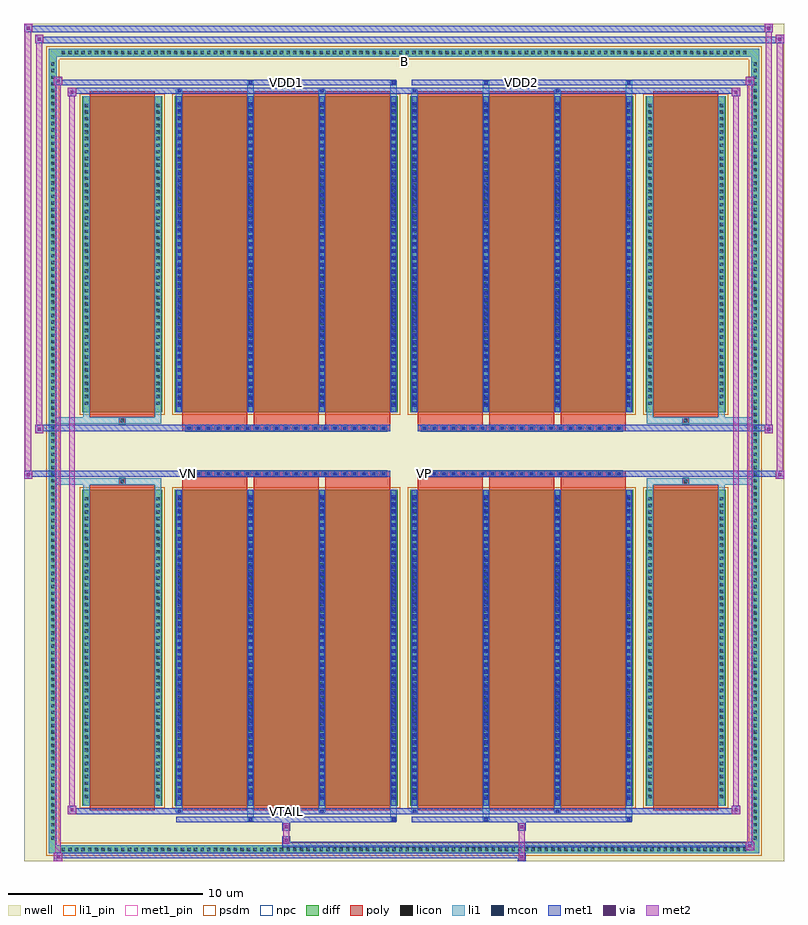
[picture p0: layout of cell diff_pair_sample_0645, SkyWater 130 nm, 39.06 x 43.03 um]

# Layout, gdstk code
import gdstk
lib = gdstk.Library(unit=1e-6, precision=5e-09)
def R(c, l, rs):  # rectangles x0, y0, x1, y1
    for r in rs: c.add(gdstk.rectangle(r[:2], r[2:], *l))
def A(c, l, x, y, w, h, nx, ny, dx, dy):  # array of equal rectangles
    R(c, l, [(x+i*dx, y+j*dy, x+i*dx+w, y+j*dy+h) for i in range(nx) for j in range(ny)])
def P(c, l, *ps):  # polygons
    for p in ps: c.add(gdstk.Polygon(p, *l))
nwell = (64, 20)
diff = (65, 20)
poly = (66, 20)
licon = (66, 44)
li1_pin = (67, 16)
li1 = (67, 20)
mcon = (67, 44)
met1_pin = (68, 16)
met1 = (68, 20)
via = (68, 44)
met2 = (69, 20)
psdm = (94, 20)
npc = (95, 20)

diff_pair_sample_0645 = lib.new_cell('diff_pair_sample_0645')
R(diff_pair_sample_0645, nwell, [(-19.53,-21.08,19.53,21.95), (-16.85,-19.27,-0.01,-0.805), (0.01,-19.27,16.85,-0.805), (-16.85,0.805,-0.01,19.27), (0.01,0.805,16.85,19.27)])
A(diff_pair_sample_0645, diff, -17.715, -20.68, 0.41, 0.41, 104, 2, 0.34, 40.95)
A(diff_pair_sample_0645, diff, -18.26, -20.095, 0.41, 0.41, 1, 118, 0, 0.34)
A(diff_pair_sample_0645, diff, 17.85, -20.095, 0.41, 0.41, 1, 118, 0, 0.34)
R(diff_pair_sample_0645, diff, [(-17.715,-20.68,17.715,-20.27), (-18.26,-20.095,-17.85,20.095), (17.85,-20.095,18.26,20.095), (-16.54,-18.225,-12.42,-1.985), (-11.78,-18.225,-0.32,-1.985), (0.32,-18.225,11.78,-1.985), (12.42,-18.225,16.54,-1.985), (-16.54,1.985,-12.42,18.225), (-11.78,1.985,-0.32,18.225), (0.32,1.985,11.78,18.225), (12.42,1.985,16.54,18.225), (-17.715,20.27,17.715,20.68)])
P(diff_pair_sample_0645, diff, [(18.26,20.68),(-18.26,20.68),(-18.26,-20.27),(-17.85,-20.27),(-17.85,20.27),(17.85,20.27),(17.85,-20.27),(-17.85,-20.27),(-18.26,-20.27),(-18.26,-20.68),(18.26,-20.68)])
A(diff_pair_sample_0645, poly, -11.39, -18.475, 3.34, 16.74, 3, 2, 3.67, 20.21)
A(diff_pair_sample_0645, poly, 0.71, -18.475, 3.34, 16.74, 3, 2, 3.67, 20.21)
A(diff_pair_sample_0645, poly, -11.39, -1.735, 3.34, 0.4, 3, 2, 3.67, 3.07)
A(diff_pair_sample_0645, poly, 0.71, -1.735, 3.34, 0.4, 3, 2, 3.67, 3.07)
A(diff_pair_sample_0645, poly, -11.215, -1.335, 0.33, 0.33, 21, 2, 0.5, 2.34)
A(diff_pair_sample_0645, poly, 0.885, -1.335, 0.33, 0.33, 21, 2, 0.5, 2.34)
R(diff_pair_sample_0645, poly, [(-16.15,-18.475,-12.81,-1.735), (12.81,-18.475,16.15,-1.735), (-14.645,-1.735,-14.315,-1.405), (-14.645,-1.735,-14.315,-1.405), (14.315,-1.735,14.645,-1.405), (14.315,-1.735,14.645,-1.405), (-11.39,-1.335,-0.71,-1.005), (0.71,-1.335,11.39,-1.005), (-11.39,1.005,-0.71,1.335), (0.71,1.005,11.39,1.335), (-14.645,1.405,-14.315,1.735), (-14.645,1.405,-14.315,1.735), (14.315,1.405,14.645,1.735), (14.315,1.405,14.645,1.735), (-16.15,1.735,-12.81,18.475), (12.81,1.735,16.15,18.475)])
A(diff_pair_sample_0645, licon, -17.595, -20.56, 0.17, 0.17, 104, 2, 0.34, 40.95)
A(diff_pair_sample_0645, licon, -18.14, -19.975, 0.17, 0.17, 1, 118, 0, 0.34)
A(diff_pair_sample_0645, licon, 17.97, -19.975, 0.17, 0.17, 1, 118, 0, 0.34)
A(diff_pair_sample_0645, licon, -16.4, -17.84, 0.17, 0.17, 1, 46, 0, 0.34)
A(diff_pair_sample_0645, licon, -12.73, -17.84, 0.17, 0.17, 1, 46, 0, 0.34)
A(diff_pair_sample_0645, licon, -11.64, -17.84, 0.17, 0.17, 4, 46, 3.67, 0.34)
A(diff_pair_sample_0645, licon, 0.46, -17.84, 0.17, 0.17, 4, 46, 3.67, 0.34)
A(diff_pair_sample_0645, licon, 12.56, -17.84, 0.17, 0.17, 1, 46, 0, 0.34)
A(diff_pair_sample_0645, licon, 16.23, -17.84, 0.17, 0.17, 1, 46, 0, 0.34)
A(diff_pair_sample_0645, licon, -11.135, -1.255, 0.17, 0.17, 21, 2, 0.5, 2.34)
A(diff_pair_sample_0645, licon, 0.965, -1.255, 0.17, 0.17, 21, 2, 0.5, 2.34)
A(diff_pair_sample_0645, licon, -16.4, 2.37, 0.17, 0.17, 1, 46, 0, 0.34)
A(diff_pair_sample_0645, licon, -12.73, 2.37, 0.17, 0.17, 1, 46, 0, 0.34)
A(diff_pair_sample_0645, licon, -11.64, 2.37, 0.17, 0.17, 4, 46, 3.67, 0.34)
A(diff_pair_sample_0645, licon, 0.46, 2.37, 0.17, 0.17, 4, 46, 3.67, 0.34)
A(diff_pair_sample_0645, licon, 12.56, 2.37, 0.17, 0.17, 1, 46, 0, 0.34)
A(diff_pair_sample_0645, licon, 16.23, 2.37, 0.17, 0.17, 1, 46, 0, 0.34)
R(diff_pair_sample_0645, licon, [(-14.565,-1.655,-14.395,-1.485), (14.395,-1.655,14.565,-1.485), (-14.565,1.485,-14.395,1.655), (14.395,1.485,14.565,1.655)])
R(diff_pair_sample_0645, li1_pin, [(-0.25,19.77,0.25,20.27)])
A(diff_pair_sample_0645, li1, -17.675, -20.64, 0.33, 0.33, 104, 2, 0.34, 40.95)
A(diff_pair_sample_0645, li1, -18.22, -20.055, 0.33, 0.33, 1, 118, 0, 0.34)
A(diff_pair_sample_0645, li1, 17.89, -20.055, 0.33, 0.33, 1, 118, 0, 0.34)
A(diff_pair_sample_0645, li1, -11.72, -18.225, 0.33, 16.24, 4, 2, 3.67, 20.21)
A(diff_pair_sample_0645, li1, 0.38, -18.225, 0.33, 16.24, 4, 2, 3.67, 20.21)
A(diff_pair_sample_0645, li1, -11.64, -17.93, 0.17, 0.17, 4, 44, 3.67, 0.36)
A(diff_pair_sample_0645, li1, -11.64, -17.93, 0.17, 15.65, 4, 2, 3.67, 20.21)
A(diff_pair_sample_0645, li1, 0.46, -17.93, 0.17, 0.17, 4, 44, 3.67, 0.36)
A(diff_pair_sample_0645, li1, 0.46, -17.93, 0.17, 15.65, 4, 2, 3.67, 20.21)
A(diff_pair_sample_0645, li1, -16.48, -17.92, 0.33, 0.33, 1, 46, 0, 0.34)
A(diff_pair_sample_0645, li1, -12.81, -17.92, 0.33, 0.33, 1, 46, 0, 0.34)
A(diff_pair_sample_0645, li1, -11.72, -17.92, 0.33, 0.33, 4, 46, 3.67, 0.34)
A(diff_pair_sample_0645, li1, 0.38, -17.92, 0.33, 0.33, 4, 46, 3.67, 0.34)
A(diff_pair_sample_0645, li1, 12.48, -17.92, 0.33, 0.33, 1, 46, 0, 0.34)
A(diff_pair_sample_0645, li1, 16.15, -17.92, 0.33, 0.33, 1, 46, 0, 0.34)
A(diff_pair_sample_0645, li1, -11.215, -1.335, 0.33, 0.33, 21, 2, 0.5, 2.34)
A(diff_pair_sample_0645, li1, 0.885, -1.335, 0.33, 0.33, 21, 2, 0.5, 2.34)
A(diff_pair_sample_0645, li1, -11.64, 2.28, 0.17, 0.17, 4, 44, 3.67, 0.36)
A(diff_pair_sample_0645, li1, 0.46, 2.28, 0.17, 0.17, 4, 44, 3.67, 0.36)
A(diff_pair_sample_0645, li1, -16.48, 2.29, 0.33, 0.33, 1, 46, 0, 0.34)
A(diff_pair_sample_0645, li1, -12.81, 2.29, 0.33, 0.33, 1, 46, 0, 0.34)
A(diff_pair_sample_0645, li1, -11.72, 2.29, 0.33, 0.33, 4, 46, 3.67, 0.34)
A(diff_pair_sample_0645, li1, 0.38, 2.29, 0.33, 0.33, 4, 46, 3.67, 0.34)
A(diff_pair_sample_0645, li1, 12.48, 2.29, 0.33, 0.33, 1, 46, 0, 0.34)
A(diff_pair_sample_0645, li1, 16.15, 2.29, 0.33, 0.33, 1, 46, 0, 0.34)
R(diff_pair_sample_0645, li1, [(-18.26,-20.68,-17.85,-20.27), (-18.26,-20.68,-17.85,-20.27), (-17.85,-20.68,17.85,-20.27), (17.85,-20.68,18.26,-20.27), (17.85,-20.68,18.26,-20.27), (-18.26,-20.27,-17.85,20.27), (17.85,-20.27,18.26,20.27), (-8.05,-19.03,-7.72,-18.225), (-7.97,-19.03,-7.8,-18.86), (-0.71,-19.03,-0.38,-18.225), (-0.63,-19.03,-0.46,-18.86), (4.05,-19.03,4.38,-18.225), (4.13,-19.03,4.3,-18.86), (11.39,-19.03,11.72,-18.225), (11.47,-19.03,11.64,-18.86), (-11.72,-18.6,-11.39,-18.225), (-11.64,-18.6,-11.47,-18.43), (-4.38,-18.6,-4.05,-18.225), (-4.3,-18.6,-4.13,-18.43), (0.38,-18.6,0.71,-18.225), (0.46,-18.6,0.63,-18.43), (7.72,-18.6,8.05,-18.225), (7.8,-18.6,7.97,-18.43), (-16.48,-18.225,-16.15,-1.985), (-12.81,-18.225,-12.48,-1.985), (12.48,-18.225,12.81,-1.985), (16.15,-18.225,16.48,-1.985), (-16.48,-1.985,-16.15,-1.405), (-12.81,-1.985,-12.48,-1.405), (12.48,-1.985,12.81,-1.405), (16.15,-1.985,16.48,-1.405), (-18.26,-1.735,-14.645,-1.405), (-16.48,-1.735,-14.645,-1.405), (-14.645,-1.735,-14.315,-1.405), (-14.315,-1.735,-12.48,-1.405), (12.48,-1.735,14.315,-1.405), (14.315,-1.735,14.645,-1.405), (14.315,-1.735,18.26,-1.405), (14.645,-1.735,16.48,-1.405), (-18.26,1.405,-14.645,1.735), (-16.48,1.405,-14.645,1.735), (-16.48,1.405,-16.15,1.985), (-14.645,1.405,-14.315,1.735), (-14.315,1.405,-12.48,1.735), (-12.81,1.405,-12.48,1.985), (12.48,1.405,14.315,1.735), (12.48,1.405,12.81,1.985), (14.315,1.405,14.645,1.735), (14.315,1.405,18.26,1.735), (14.645,1.405,16.48,1.735), (16.15,1.405,16.48,1.985), (-16.48,1.985,-16.15,18.225), (-12.81,1.985,-12.48,18.225), (12.48,1.985,12.81,18.225), (16.15,1.985,16.48,18.225), (-11.72,18.225,-11.39,18.6), (-8.05,18.225,-7.72,19.03), (-4.38,18.225,-4.05,18.6), (-0.71,18.225,-0.38,19.03), (0.38,18.225,0.71,18.6), (4.05,18.225,4.38,19.03), (7.72,18.225,8.05,18.6), (11.39,18.225,11.72,19.03), (-11.64,18.43,-11.47,18.6), (-4.3,18.43,-4.13,18.6), (0.46,18.43,0.63,18.6), (7.8,18.43,7.97,18.6), (-7.97,18.86,-7.8,19.03), (-0.63,18.86,-0.46,19.03), (4.13,18.86,4.3,19.03), (11.47,18.86,11.64,19.03), (-18.26,20.27,-17.85,20.68), (-18.26,20.27,-17.85,20.68), (-17.85,20.27,17.85,20.68), (17.85,20.27,18.26,20.68), (17.85,20.27,18.26,20.68)])
A(diff_pair_sample_0645, mcon, -11.64, -17.93, 0.17, 0.17, 4, 44, 3.67, 0.36)
A(diff_pair_sample_0645, mcon, 0.46, -17.93, 0.17, 0.17, 4, 44, 3.67, 0.36)
A(diff_pair_sample_0645, mcon, -11.135, -1.255, 0.17, 0.17, 21, 2, 0.5, 2.34)
A(diff_pair_sample_0645, mcon, 0.965, -1.255, 0.17, 0.17, 21, 2, 0.5, 2.34)
A(diff_pair_sample_0645, mcon, -11.64, 2.28, 0.17, 0.17, 4, 44, 3.67, 0.36)
A(diff_pair_sample_0645, mcon, 0.46, 2.28, 0.17, 0.17, 4, 44, 3.67, 0.36)
R(diff_pair_sample_0645, mcon, [(-7.97,-19.03,-7.8,-18.86), (-0.63,-19.03,-0.46,-18.86), (4.13,-19.03,4.3,-18.86), (11.47,-19.03,11.64,-18.86), (-11.64,-18.6,-11.47,-18.43), (-4.3,-18.6,-4.13,-18.43), (0.46,-18.6,0.63,-18.43), (7.8,-18.6,7.97,-18.43), (-11.64,18.43,-11.47,18.6), (-4.3,18.43,-4.13,18.6), (0.46,18.43,0.63,18.6), (7.8,18.43,7.97,18.6), (-7.97,18.86,-7.8,19.03), (-0.63,18.86,-0.46,19.03), (4.13,18.86,4.3,19.03), (11.47,18.86,11.64,19.03)])
R(diff_pair_sample_0645, met1_pin, [(-6.185,-18.64,-5.915,-18.37), (-11.185,-1.295,-10.915,-1.025), (0.915,-1.295,1.185,-1.025), (-6.185,18.82,-5.915,19.09), (5.915,18.82,6.185,19.09)])
A(diff_pair_sample_0645, met1, -11.7, -18.225, 0.29, 16.24, 4, 2, 3.67, 20.21)
A(diff_pair_sample_0645, met1, 0.4, -18.225, 0.29, 16.24, 4, 2, 3.67, 20.21)
A(diff_pair_sample_0645, met1, -11.7, -17.99, 0.29, 0.29, 4, 44, 3.67, 0.36)
A(diff_pair_sample_0645, met1, 0.4, -17.99, 0.29, 0.29, 4, 44, 3.67, 0.36)
A(diff_pair_sample_0645, met1, -11.195, -1.315, 0.29, 0.29, 21, 2, 0.5, 2.34)
A(diff_pair_sample_0645, met1, 0.905, -1.315, 0.29, 0.29, 21, 2, 0.5, 2.34)
A(diff_pair_sample_0645, met1, -11.7, 2.22, 0.29, 0.29, 4, 44, 3.67, 0.36)
A(diff_pair_sample_0645, met1, 0.4, 2.22, 0.29, 0.29, 4, 44, 3.67, 0.36)
R(diff_pair_sample_0645, met1, [(-17.99,-21.08,-17.56,-20.65), (5.835,-21.08,6.265,-20.65), (-17.99,-20.94,6.265,-20.65), (17.56,-20.51,17.99,-20.08), (-6.265,-20.37,17.99,-20.08), (-6.265,-20.23,-5.835,-19.8), (-6.265,-19.52,-5.835,-19.09), (5.835,-19.52,6.265,-19.09), (-11.7,-19.09,-0.4,-18.8), (-8.03,-19.09,-7.74,-18.8), (-0.69,-19.09,-0.4,-18.8), (0.4,-19.09,11.7,-18.8), (4.07,-19.09,4.36,-18.8), (11.41,-19.09,11.7,-18.8), (-17.28,-18.66,-16.85,-18.23), (-17.28,-18.66,-11.7,-18.37), (-11.7,-18.66,-11.41,-18.37), (-11.7,-18.66,-0.4,-18.37), (-4.36,-18.66,-4.07,-18.37), (-0.4,-18.66,0.4,-18.37), (0.4,-18.66,0.69,-18.37), (0.4,-18.66,11.7,-18.37), (7.74,-18.66,8.03,-18.37), (11.7,-18.66,17.28,-18.37), (16.85,-18.66,17.28,-18.23), (-19.53,-1.435,-19.1,-1.005), (19.1,-1.435,19.53,-1.005), (-19.53,-1.335,-0.71,-1.005), (-11.39,-1.335,-0.71,-1.005), (0.71,-1.335,11.39,-1.005), (0.71,-1.335,19.53,-1.005), (-18.96,0.905,-18.53,1.335), (18.53,0.905,18.96,1.335), (-18.96,1.005,-11.39,1.335), (-11.39,1.005,-0.71,1.335), (0.71,1.005,11.39,1.335), (11.39,1.005,18.96,1.335), (-17.28,18.23,-16.85,18.66), (16.85,18.23,17.28,18.66), (-17.28,18.37,-11.7,18.66), (-11.7,18.37,-11.41,18.66), (-11.7,18.37,-0.4,18.66), (-4.36,18.37,-4.07,18.66), (-0.4,18.37,0.4,18.66), (0.4,18.37,0.69,18.66), (0.4,18.37,11.7,18.66), (7.74,18.37,8.03,18.66), (11.7,18.37,17.28,18.66), (-17.99,18.8,-17.56,19.23), (-17.99,18.8,-11.7,19.09), (-11.7,18.8,-0.4,19.09), (-8.03,18.8,-7.74,19.09), (-0.69,18.8,-0.4,19.09), (0.4,18.8,11.7,19.09), (4.07,18.8,4.36,19.09), (11.41,18.8,11.7,19.09), (11.7,18.8,17.99,19.09), (17.56,18.8,17.99,19.23), (-18.96,20.95,-18.53,21.38), (-18.96,20.95,-16.85,21.28), (-16.85,20.95,16.85,21.28), (16.85,20.95,19.53,21.28), (19.1,20.95,19.53,21.38), (-19.53,21.52,-19.1,21.95), (-19.53,21.52,-16.85,21.85), (-16.85,21.52,16.85,21.85), (16.85,21.52,18.96,21.85), (18.53,21.52,18.96,21.95)])
R(diff_pair_sample_0645, via, [(-17.85,-20.94,-17.7,-20.79), (5.975,-20.94,6.125,-20.79), (17.7,-20.37,17.85,-20.22), (-6.125,-20.09,-5.975,-19.94), (-6.125,-19.38,-5.975,-19.23), (5.975,-19.38,6.125,-19.23), (-17.14,-18.52,-16.99,-18.37), (16.99,-18.52,17.14,-18.37), (-19.39,-1.295,-19.24,-1.145), (19.24,-1.295,19.39,-1.145), (-18.82,1.045,-18.67,1.195), (18.67,1.045,18.82,1.195), (-17.14,18.37,-16.99,18.52), (16.99,18.37,17.14,18.52), (-17.85,18.94,-17.7,19.09), (17.7,18.94,17.85,19.09), (-18.82,21.09,-18.67,21.24), (19.24,21.09,19.39,21.24), (-19.39,21.66,-19.24,21.81), (18.67,21.66,18.82,21.81)])
R(diff_pair_sample_0645, met2, [(-17.99,-21.08,-17.56,-20.65), (-17.92,-21.08,-17.63,19.23), (-17.63,-21.08,-17.56,-20.65), (-17.94,-21.03,-17.61,-20.7), (5.885,-21.03,6.215,-20.7), (5.885,-20.7,6.215,-19.47), (17.56,-20.51,17.99,-20.08), (17.63,-20.51,17.92,19.23), (17.92,-20.51,17.99,-20.08), (17.61,-20.46,17.94,-20.13), (-6.215,-20.18,-5.885,-19.85), (-6.215,-19.85,-5.885,-19.47), (-6.215,-19.47,-5.885,-19.14), (5.885,-19.47,6.215,-19.14), (-17.28,-18.66,-16.85,-18.23), (-17.21,-18.66,-16.92,18.66), (-16.92,-18.66,-16.85,-18.23), (16.85,-18.66,17.28,-18.23), (16.92,-18.66,17.21,18.66), (17.21,-18.66,17.28,-18.23), (-17.23,-18.61,-16.9,-18.28), (16.9,-18.61,17.23,-18.28), (-19.53,-1.435,-19.1,-1.005), (-19.48,-1.435,-19.15,21.95), (-19.15,-1.435,-19.1,-1.005), (19.1,-1.435,19.53,-1.005), (19.15,-1.435,19.48,21.38), (19.48,-1.435,19.53,-1.005), (-19.48,-1.385,-19.15,-1.055), (19.15,-1.385,19.48,-1.055), (-18.96,0.905,-18.53,1.335), (-18.91,0.905,-18.58,21.38), (-18.58,0.905,-18.53,1.335), (18.53,0.905,18.96,1.335), (18.58,0.905,18.91,21.95), (18.91,0.905,18.96,1.335), (-18.91,0.955,-18.58,1.285), (18.58,0.955,18.91,1.285), (-17.28,18.23,-16.85,18.66), (-16.92,18.23,-16.85,18.66), (16.85,18.23,17.28,18.66), (17.21,18.23,17.28,18.66), (-17.23,18.28,-16.9,18.61), (16.9,18.28,17.23,18.61), (-17.99,18.8,-17.56,19.23), (-17.63,18.8,-17.56,19.23), (17.56,18.8,17.99,19.23), (17.92,18.8,17.99,19.23), (-17.94,18.85,-17.61,19.18), (17.61,18.85,17.94,19.18), (-18.96,20.95,-18.53,21.38), (-18.58,20.95,-18.53,21.38), (19.1,20.95,19.53,21.38), (19.48,20.95,19.53,21.38), (-18.91,21,-18.58,21.33), (19.15,21,19.48,21.33), (-19.53,21.52,-19.1,21.95), (-19.15,21.52,-19.1,21.95), (18.53,21.52,18.96,21.95), (18.91,21.52,18.96,21.95), (-19.48,21.57,-19.15,21.9), (18.58,21.57,18.91,21.9)])
R(diff_pair_sample_0645, psdm, [(-16.67,-18.355,-12.29,-1.855), (-11.91,-18.355,-0.19,-1.855), (0.19,-18.355,11.91,-1.855), (12.29,-18.355,16.67,-1.855), (-16.67,1.855,-12.29,18.355), (-11.91,1.855,-0.19,18.355), (0.19,1.855,11.91,18.355), (12.29,1.855,16.67,18.355)])
P(diff_pair_sample_0645, psdm, [(18.39,20.81),(-18.39,20.81),(-18.39,-20.14),(-17.72,-20.14),(-17.72,20.14),(17.72,20.14),(17.72,-20.14),(-17.72,-20.14),(-18.39,-20.14),(-18.39,-20.81),(18.39,-20.81)])
A(diff_pair_sample_0645, npc, -11.235, -1.355, 0.37, 0.37, 21, 2, 0.5, 2.34)
A(diff_pair_sample_0645, npc, 0.865, -1.355, 0.37, 0.37, 21, 2, 0.5, 2.34)
R(diff_pair_sample_0645, npc, [(-14.665,-1.755,-14.295,-1.385), (14.295,-1.755,14.665,-1.385), (-11.235,-1.355,-10.365,-0.985), (-11.235,-1.355,-10.365,-0.985), (-10.735,-1.355,-9.865,-0.985), (-10.735,-1.355,-9.865,-0.985), (-10.235,-1.355,-9.365,-0.985), (-10.235,-1.355,-9.365,-0.985), (-9.735,-1.355,-8.865,-0.985), (-9.735,-1.355,-8.865,-0.985), (-9.235,-1.355,-8.365,-0.985), (-9.235,-1.355,-8.365,-0.985), (-8.735,-1.355,-7.865,-0.985), (-8.735,-1.355,-7.865,-0.985), (-8.235,-1.355,-7.365,-0.985), (-8.235,-1.355,-7.365,-0.985), (-7.735,-1.355,-6.865,-0.985), (-7.735,-1.355,-6.865,-0.985), (-7.235,-1.355,-6.365,-0.985), (-7.235,-1.355,-6.365,-0.985), (-6.735,-1.355,-5.865,-0.985), (-6.735,-1.355,-5.865,-0.985), (-6.235,-1.355,-5.365,-0.985), (-6.235,-1.355,-5.365,-0.985), (-5.735,-1.355,-4.865,-0.985), (-5.735,-1.355,-4.865,-0.985), (-5.235,-1.355,-4.365,-0.985), (-5.235,-1.355,-4.365,-0.985), (-4.735,-1.355,-3.865,-0.985), (-4.735,-1.355,-3.865,-0.985), (-4.235,-1.355,-3.365,-0.985), (-4.235,-1.355,-3.365,-0.985), (-3.735,-1.355,-2.865,-0.985), (-3.735,-1.355,-2.865,-0.985), (-3.235,-1.355,-2.365,-0.985), (-3.235,-1.355,-2.365,-0.985), (-2.735,-1.355,-1.865,-0.985), (-2.735,-1.355,-1.865,-0.985), (-2.235,-1.355,-1.365,-0.985), (-2.235,-1.355,-1.365,-0.985), (-1.735,-1.355,-0.865,-0.985), (-1.735,-1.355,-0.865,-0.985), (0.865,-1.355,1.735,-0.985), (0.865,-1.355,1.735,-0.985), (1.365,-1.355,2.235,-0.985), (1.365,-1.355,2.235,-0.985), (1.865,-1.355,2.735,-0.985), (1.865,-1.355,2.735,-0.985), (2.365,-1.355,3.235,-0.985), (2.365,-1.355,3.235,-0.985), (2.865,-1.355,3.735,-0.985), (2.865,-1.355,3.735,-0.985), (3.365,-1.355,4.235,-0.985), (3.365,-1.355,4.235,-0.985), (3.865,-1.355,4.735,-0.985), (3.865,-1.355,4.735,-0.985), (4.365,-1.355,5.235,-0.985), (4.365,-1.355,5.235,-0.985), (4.865,-1.355,5.735,-0.985), (4.865,-1.355,5.735,-0.985), (5.365,-1.355,6.235,-0.985), (5.365,-1.355,6.235,-0.985), (5.865,-1.355,6.735,-0.985), (5.865,-1.355,6.735,-0.985), (6.365,-1.355,7.235,-0.985), (6.365,-1.355,7.235,-0.985), (6.865,-1.355,7.735,-0.985), (6.865,-1.355,7.735,-0.985), (7.365,-1.355,8.235,-0.985), (7.365,-1.355,8.235,-0.985), (7.865,-1.355,8.735,-0.985), (7.865,-1.355,8.735,-0.985), (8.365,-1.355,9.235,-0.985), (8.365,-1.355,9.235,-0.985), (8.865,-1.355,9.735,-0.985), (8.865,-1.355,9.735,-0.985), (9.365,-1.355,10.235,-0.985), (9.365,-1.355,10.235,-0.985), (9.865,-1.355,10.735,-0.985), (9.865,-1.355,10.735,-0.985), (10.365,-1.355,11.235,-0.985), (10.365,-1.355,11.235,-0.985), (-11.235,0.985,-10.365,1.355), (-11.235,0.985,-10.365,1.355), (-10.735,0.985,-9.865,1.355), (-10.735,0.985,-9.865,1.355), (-10.235,0.985,-9.365,1.355), (-10.235,0.985,-9.365,1.355), (-9.735,0.985,-8.865,1.355), (-9.735,0.985,-8.865,1.355), (-9.235,0.985,-8.365,1.355), (-9.235,0.985,-8.365,1.355), (-8.735,0.985,-7.865,1.355), (-8.735,0.985,-7.865,1.355), (-8.235,0.985,-7.365,1.355), (-8.235,0.985,-7.365,1.355), (-7.735,0.985,-6.865,1.355), (-7.735,0.985,-6.865,1.355), (-7.235,0.985,-6.365,1.355), (-7.235,0.985,-6.365,1.355), (-6.735,0.985,-5.865,1.355), (-6.735,0.985,-5.865,1.355), (-6.235,0.985,-5.365,1.355), (-6.235,0.985,-5.365,1.355), (-5.735,0.985,-4.865,1.355), (-5.735,0.985,-4.865,1.355), (-5.235,0.985,-4.365,1.355), (-5.235,0.985,-4.365,1.355), (-4.735,0.985,-3.865,1.355), (-4.735,0.985,-3.865,1.355), (-4.235,0.985,-3.365,1.355), (-4.235,0.985,-3.365,1.355), (-3.735,0.985,-2.865,1.355), (-3.735,0.985,-2.865,1.355), (-3.235,0.985,-2.365,1.355), (-3.235,0.985,-2.365,1.355), (-2.735,0.985,-1.865,1.355), (-2.735,0.985,-1.865,1.355), (-2.235,0.985,-1.365,1.355), (-2.235,0.985,-1.365,1.355), (-1.735,0.985,-0.865,1.355), (-1.735,0.985,-0.865,1.355), (0.865,0.985,1.735,1.355), (0.865,0.985,1.735,1.355), (1.365,0.985,2.235,1.355), (1.365,0.985,2.235,1.355), (1.865,0.985,2.735,1.355), (1.865,0.985,2.735,1.355), (2.365,0.985,3.235,1.355), (2.365,0.985,3.235,1.355), (2.865,0.985,3.735,1.355), (2.865,0.985,3.735,1.355), (3.365,0.985,4.235,1.355), (3.365,0.985,4.235,1.355), (3.865,0.985,4.735,1.355), (3.865,0.985,4.735,1.355), (4.365,0.985,5.235,1.355), (4.365,0.985,5.235,1.355), (4.865,0.985,5.735,1.355), (4.865,0.985,5.735,1.355), (5.365,0.985,6.235,1.355), (5.365,0.985,6.235,1.355), (5.865,0.985,6.735,1.355), (5.865,0.985,6.735,1.355), (6.365,0.985,7.235,1.355), (6.365,0.985,7.235,1.355), (6.865,0.985,7.735,1.355), (6.865,0.985,7.735,1.355), (7.365,0.985,8.235,1.355), (7.365,0.985,8.235,1.355), (7.865,0.985,8.735,1.355), (7.865,0.985,8.735,1.355), (8.365,0.985,9.235,1.355), (8.365,0.985,9.235,1.355), (8.865,0.985,9.735,1.355), (8.865,0.985,9.735,1.355), (9.365,0.985,10.235,1.355), (9.365,0.985,10.235,1.355), (9.865,0.985,10.735,1.355), (9.865,0.985,10.735,1.355), (10.365,0.985,11.235,1.355), (10.365,0.985,11.235,1.355), (-14.665,1.385,-14.295,1.755), (14.295,1.385,14.665,1.755)])
diff_pair_sample_0645.add(gdstk.Label('VTAIL', (-6.05,-18.505), layer=68, texttype=5))
diff_pair_sample_0645.add(gdstk.Label('VN', (-11.05,-1.16), layer=68, texttype=5))
diff_pair_sample_0645.add(gdstk.Label('VP', (1.05,-1.16), layer=68, texttype=5))
diff_pair_sample_0645.add(gdstk.Label('B', (0,20.02), layer=67, texttype=5))
diff_pair_sample_0645.add(gdstk.Label('VDD2', (6.05,18.955), layer=68, texttype=5))
diff_pair_sample_0645.add(gdstk.Label('VDD1', (-6.05,18.955), layer=68, texttype=5))

lib.write_gds('diff_pair_sample_0645.gds')
